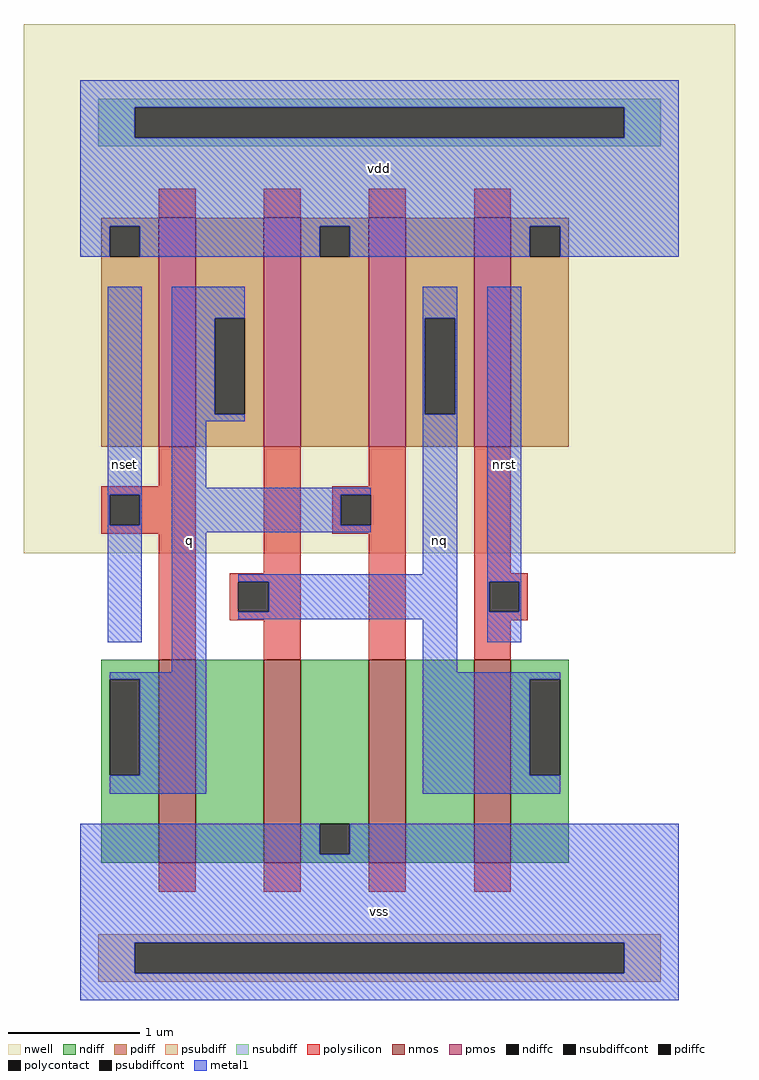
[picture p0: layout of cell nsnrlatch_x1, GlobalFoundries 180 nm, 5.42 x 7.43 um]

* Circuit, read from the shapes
.subckt nsnrlatch_x1 q vdd vss nset nq nrst
XM1 n1 nset q vss nfet_03v3 w=1.545u l=0.28u
XM2 vss nq n1 vss nfet_03v3 w=1.545u l=0.28u
XM3 n2 q vss vss nfet_03v3 w=1.545u l=0.28u
XM4 nq nrst n2 vss nfet_03v3 w=1.545u l=0.28u
XM5 q nset vdd vdd pfet_03v3 w=1.745u l=0.28u
XM6 vdd nq q vdd pfet_03v3 w=1.745u l=0.28u
XM7 nq q vdd vdd pfet_03v3 w=1.745u l=0.28u
XM8 vdd nrst nq vdd pfet_03v3 w=1.745u l=0.28u
.ends

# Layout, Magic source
magic
tech gf180mcuD
magscale 1 10
<< nwell >>
rect -86 680 998 1486
<< nmos >>
rect 120 209 176 518
rect 280 209 336 518
rect 440 209 496 518
rect 600 209 656 518
<< pmos >>
rect 120 842 176 1191
rect 280 842 336 1191
rect 440 842 496 1191
rect 600 842 656 1191
<< ndiff >>
rect 32 488 120 518
rect 32 342 45 488
rect 91 342 120 488
rect 32 209 120 342
rect 176 209 280 518
rect 336 268 440 518
rect 336 222 365 268
rect 411 222 440 268
rect 336 209 440 222
rect 496 209 600 518
rect 656 488 744 518
rect 656 342 685 488
rect 731 342 744 488
rect 656 209 744 342
<< pdiff >>
rect 32 1178 120 1191
rect 32 1132 45 1178
rect 91 1132 120 1178
rect 32 842 120 1132
rect 176 1038 280 1191
rect 176 892 205 1038
rect 251 892 280 1038
rect 176 842 280 892
rect 336 1178 440 1191
rect 336 1132 365 1178
rect 411 1132 440 1178
rect 336 842 440 1132
rect 496 1038 600 1191
rect 496 892 525 1038
rect 571 892 600 1038
rect 496 842 600 892
rect 656 1178 744 1191
rect 656 1132 685 1178
rect 731 1132 744 1178
rect 656 842 744 1132
<< ndiffc >>
rect 45 342 91 488
rect 365 222 411 268
rect 685 342 731 488
<< pdiffc >>
rect 45 1132 91 1178
rect 205 892 251 1038
rect 365 1132 411 1178
rect 525 892 571 1038
rect 685 1132 731 1178
<< psubdiff >>
rect 28 87 884 100
rect 28 41 83 87
rect 829 41 884 87
rect 28 28 884 41
<< nsubdiff >>
rect 28 1359 884 1372
rect 28 1313 83 1359
rect 829 1313 884 1359
rect 28 1300 884 1313
<< psubdiffcont >>
rect 83 41 829 87
<< nsubdiffcont >>
rect 83 1313 829 1359
<< polysilicon >>
rect 120 1191 176 1235
rect 280 1191 336 1235
rect 440 1191 496 1235
rect 600 1191 656 1235
rect 120 782 176 842
rect 32 769 176 782
rect 32 723 45 769
rect 91 723 176 769
rect 32 710 176 723
rect 120 518 176 710
rect 280 650 336 842
rect 440 782 496 842
rect 384 769 496 782
rect 384 723 397 769
rect 443 723 496 769
rect 384 710 496 723
rect 228 637 336 650
rect 228 591 241 637
rect 287 591 336 637
rect 228 578 336 591
rect 280 518 336 578
rect 440 518 496 710
rect 600 650 656 842
rect 600 637 682 650
rect 600 591 623 637
rect 669 591 682 637
rect 600 578 682 591
rect 600 518 656 578
rect 120 165 176 209
rect 280 165 336 209
rect 440 165 496 209
rect 600 165 656 209
<< polycontact >>
rect 45 723 91 769
rect 397 723 443 769
rect 241 591 287 637
rect 623 591 669 637
<< metal1 >>
rect 0 1359 912 1400
rect 0 1313 83 1359
rect 829 1313 912 1359
rect 0 1178 912 1313
rect 0 1132 45 1178
rect 91 1132 365 1178
rect 411 1132 685 1178
rect 731 1132 912 1178
rect 42 769 94 1086
rect 42 723 45 769
rect 91 723 94 769
rect 42 545 94 723
rect 140 1038 251 1086
rect 140 892 205 1038
rect 140 881 251 892
rect 522 1038 574 1086
rect 522 892 525 1038
rect 571 892 574 1038
rect 140 780 192 881
rect 140 769 443 780
rect 140 723 397 769
rect 140 712 443 723
rect 140 499 192 712
rect 522 648 574 892
rect 241 637 574 648
rect 287 591 574 637
rect 241 580 574 591
rect 45 488 192 499
rect 91 342 192 488
rect 45 314 192 342
rect 522 499 574 580
rect 620 637 672 1086
rect 620 591 623 637
rect 669 591 672 637
rect 620 545 672 591
rect 522 488 731 499
rect 522 342 685 488
rect 522 314 731 342
rect 0 222 365 268
rect 411 222 912 268
rect 0 87 912 222
rect 0 41 83 87
rect 829 41 912 87
rect 0 0 912 41
<< labels >>
rlabel metal1 s 140 314 192 1086 4 q
port 3 nsew
rlabel metal1 s 0 1132 912 1400 4 vdd
port 5 nsew
rlabel metal1 s 0 0 912 268 4 vss
port 7 nsew
rlabel metal1 s 42 545 94 1086 4 nset
port 9 nsew
rlabel metal1 s 522 314 574 1086 4 nq
port 11 nsew
rlabel metal1 s 620 545 672 1086 4 nrst
port 13 nsew
<< end >>
